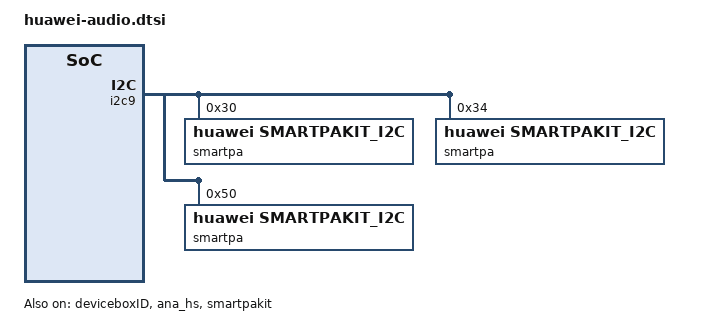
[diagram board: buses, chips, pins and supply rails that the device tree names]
#include "../huawei_audio/yor/huawei_mt6359_accdet.dtsi"

/* Box ID BEGIN */
&pio {
	speaker_box_on: speaker_box_on {
		pins_cmd_dat {
			pinmux = <PINMUX_GPIO190__FUNC_GPIO190>;
			slew-rate = <0>;
			bias-pull-up = <MTK_PUPD_SET_R1R0_01>;
		};
	};
	speaker_box_off: speaker_box_off {
		pins_cmd_dat {
			pinmux = <PINMUX_GPIO190__FUNC_GPIO190>;
			slew-rate = <0>;
			bias-disable;
		};
	};
};

&deviceboxID {
	compatible = "huawei,deviceboxID";
	pinctrl-names = "default", "idle";
	pinctrl-0 = <&speaker_box_on>;
	pinctrl-1 = <&speaker_box_off>;
	check_mode = "gpio";
	box_num = <2>;
	enable_boxID = <1 0 0 0>;
	gpio_num = <1 0 0 0>;
	gpio_speakerID = <&pio 190 0>;
	speaker_map = <6 1>;
	status = "ok";
};
/* Box ID END */

&audio_hw_config {
	product_name = "mt6885";
	mic_silence_continuous_check_times = "5";
	speaker_test_content = "speaker";
	rcv_use_i2s = "false";
	audio_param_path = "odm/etc/audio/audio_param";
	audio_param_ce_path = "odm/etc/audio/audio_param_ce";
	record_algo_version = "record5_0";
	is_huawei_record = "true";
	multi_mic_enable = "true";
	third_platform_name = "mt6885";
	third_audio_hal_name = "audio.primary.mt6885.so";
	audio_channel_rotation_info {
		swap_thread = "25";
		angle = "90";
		rotation_support = "true";
	};
	audio_capability {
		backmic_record_enable = "true";
		asr_vibrate_support = "true";
		/*
		sound trigger feature.
		false: this product doesn't support soundtrigger feature.
		2.0: this product supports the twice wakeup feature.
		*/
		soundtrigger_version = "2.0";
		soundtrigger_enhance_enable = "true";
		soundtrigger_mic_info = "3";
		/*
		bit0: node 900 optimization,  1:enab1e
		bit1:
			0: e2e disable
			1: e2e enable, must use hifi_6405_virtual_btn_devkit.img
		*/
		soundtrigger_kws1_feature = "2";
		/*
		max stream volume to replace Android default volume.
		*/
		/*
		use hisilicon wakeup engine.
		true: use hisilicon wakeup engine.
		false: DO NOT use hisilicon wakeup engine.
		*/
		wakeup_hisiengine = "true";
		asr_enhance_mic_choose = "1";
	};
};

&ana_hs {
	compatible = "huawei,ana_hs";
	status = "ok";
	ana_hs_core@0 {
		compatible = "huawei,ana_hs_core";
		bus_type = <0>; /* 0: gpio,  1: i2c */

		/* if use gpio */
		gpio_num = <1>;
		gpio_type = <0>; /* 0: SOC,  1: codec */
		gpios = <&pio 29 0>;
		gpio_init_val = <0>;  /* 0: output low, 1: output high */

		/* plug_out sequence */
		plug_out_seq = <
			0 0 0 0
		>;
		/* mic_gnd_switch used gpio */
		mic_gnd_sequence = <
			0 0 0 150
		>;
		/* switch ana_hs usb using ldo */
		regulator_used;
		ana_hs_switch-supply = <&mt_pmic_vmc_ldo_reg>;
		ana_hs_switch_vol = <3300000>;
		status = "ok";
	};
};

&sound {
		mtk_spk_i2s_out = <3>;
		mtk_spk_i2s_in = <9>; /* 9 means 32bit, 0 means 24bit */
};

/* feature : $enable $dl_mem $ul_mem $ref_mem $size */
&snd_audio_dsp {
	compatible = "mediatek,snd_audio_dsp";
	mtk_dsp_voip = <0x7 0x1 0xffffffff 0xffffffff 0x30000>;
	mtk_dsp_primary = <0x7 0x0 0xffffffff 0xffffffff 0x30000>;
	mtk_dsp_offload = <0x0 0x6 0xffffffff 0xffffffff 0x400000>;
	mtk_dsp_deep = <0x0 0x3 0xffffffff 0xffffffff 0x30000>;
	mtk_dsp_playback = <0x1 0x4 0x10 0x14 0x30000>;
	mtk_dsp_music = <0x1 0xffffffff 0xffffffff 0xffffffff 0x0>;
	mtk_dsp_capture1 = <0x0 0xffffffff 0xd 0x13 0x20000>;
	mtk_dsp_a2dp = <0x0 0xffffffff 0xffffffff 0xffffffff 0x40000>;
	mtk_dsp_dataprovider = <0x0 0xffffffff 0xf 0xffffffff 0x30000>;
	mtk_dsp_call_final = <0x7 0x0 0x10 0x14 0x18000>;
	mtk_dsp_fast = <0x7 0x2 0xffffffff 0xffffffff 0x5000>;
	mtk_dsp_ktv = <0x1 0x8 0x12 0xffffffff 0x10000>;
	mtk_dsp_ver = <0x1>;
	swdsp_smartpa_process_enable = <0x7>;
	mtk_dsp_mem_afe = <0x1 0x40000>; /* always enable */
};

&i2c9 {
	smartpa@30{
		compatible = "huawei,smartpakit_i2c";
		reg = <0x30>;
		/* 4:huawei customize */
		chip_vendor = <4>;
		/* refer to smartpakit.out_device prop */
		chip_id = <0>;
		chip_model = "06-01";
		/* maybe trigger one irq after some chip reset
		 * debounce wait time unit: msecs */
		reset_debounce_wait_time = <100>;
		status = "ok";

		/* reg_ctl node: a node contains three data<addr value ctl_type>
		 * ctl_type: 0 read reg(default), 1 write reg, 2 only time delay
		 * value:
		 *     read:  reg number(num >= 1)
		 *     write: reg value
		 *     delay: time delay
		 * time delay unit: msecs
		 */
		version_regs = <0x00 1 0>;
		dump_regs = <0 256 0>;

		hw_reset {
			gpio_reset = <&pio 30 0>;
			/* gpio_state node: a node contains two data<state delay>
			 * time delay unit: msecs
			 */
			ctl_sequence = <0 1 1 1>;
		};

		irq_handler {
			gpio_irq = <&pio 31 0>;
			/* 0x0 IRQF_TRIGGER_NONE, 0x1 IRQF_TRIGGER_RISING, 0x2 IRQF_TRIGGER_FALLING, 0x4 IRQF_TRIGGER_HIGH, 0x8 IRQF_TRIGGER_LOW */
			irq_flags = <2>;
			/* whether or not need reset chip */
			need_reset;
			rw_sequence = <
				0x00 8 0
				0x09 5 0
				0x12 3 0
				0x60 2 0
				0x78 1 0
				0x7a 1 0
			>;
		};

		regmap_cfg {
			reg_bits = <8>;
			val_bits = <16>;
			/* 0 REGCACHE_NONE, 1 REGCACHE_RBTREE, 2 REGCACHE_COMPRESSED, 3 REGCACHE_FLAT */
			cache_type = <0>;
			max_register = <0xff>;
		};
	};

	smartpa@34{
		compatible = "huawei,smartpakit_i2c";
		reg = <0x34>;
		/* 4:huawei customize */
		chip_vendor = <4>;
		/* refer to smartpakit.out_device prop */
		chip_id = <0>;
		chip_model = "01-02";
		status = "ok";

		/* reg_ctl node: a node contains three data<addr value ctl_type>
		 * ctl_type: 0 read reg(default), 1 write reg, 2 only time delay
		 * value:
		 *     read:  reg number(num >= 1)
		 *     write: reg value
		 *     delay: time delay
		 * time delay unit: msecs */
		version_regs = <0x03 1 0>;
		dump_regs = <0 256 0>;
		hw_reset {
			gpio_reset = <&pio 30 0>;
			/* gpio_state node: a node contains two data<state delay>
			 * time delay unit: msecs */
			ctl_sequence = <1 1 0 1>;
		};
		irq_handler {
			gpio_irq = <&pio 31 0>;
			/* 0x0 IRQF_TRIGGER_NONE, 0x1 IRQF_TRIGGER_RISING, 0x2 IRQF_TRIGGER_FALLING, 0x4 IRQF_TRIGGER_HIGH, 0x8 IRQF_TRIGGER_LOW */
			irq_flags = <2>;
			/* whether or not need reset chip */
			need_reset;
			rw_sequence = <
				0x10 1 0
				0x11 1 0
				0x13 1 0
				0x14 1 0
				0x40 1 0
				0x41 1 0
				0x42 1 0
			>;
		};
		regmap_cfg {
			reg_bits = <8>;
			val_bits = <16>;
			/* 0 REGCACHE_NONE, 1 REGCACHE_RBTREE, 2 REGCACHE_COMPRESSED, 3 REGCACHE_FLAT */
			cache_type = <0>;
			max_register = <0xff>;
			reg_defaults = <
				0x00 0x1801
				0x01 0x0014
			>;
		};
	};

	smartpa@50{
		compatible = "huawei,smartpakit_i2c";
		reg = <0x50>;
		/* 4:huawei customize */
		chip_vendor = <4>;
		/* refer to smartpakit.out_device prop */
		chip_id = <0>;
		chip_model = "03-01";
		status = "ok";

		/* reg_ctl node: a node contains three data<addr value ctl_type>
		 * ctl_type: 0 read reg(default), 1 write reg, 2 only time delay
		 * value:
		 *     read:  reg number(num >= 1)
		 *     write: reg value
		 *     delay: time delay
		 * time delay unit: msecs */
		version_regs = <0x0 1 0>;
		dump_regs = <
			0x000000 1          0
			0x000008 1          0
			0x002014 0x21       0
			0x002400 1          0
			0x002c04 0xd        0
			0x003800 0x31       0
			0x004004 1          0
			0x004220 1          0
			0x004300 1          0
			0x004800 0x3d       0
			0x004C00 1          0
			0x004C20 0x15       0
			0x006000 1          0
			0x006404 0x11       0
			0x006450 1          0
			0x006800 0x9        0
			0x006C04 1          0
			0xd00000 0x4d       0
			0xe02800 1          0>;

		hw_reset {
			gpio_reset = <&pio 30 0>;
			/* gpio_state node: a node contains two data<state delay>
			 * time delay unit: msecs */
			ctl_sequence = <1 1 0 1>;
		};
		irq_handler {
			gpio_irq = <&pio 31 0>;
			/* 0x0 IRQF_TRIGGER_NONE, 0x1 IRQF_TRIGGER_RISING, 0x2 IRQF_TRIGGER_FALLING, 0x4 IRQF_TRIGGER_HIGH, 0x8 IRQF_TRIGGER_LOW */
			irq_flags = <2>;
			/* whether or not need reset chip */
			need_reset;
			rw_sequence = <
				0xd00020 1          0
				0xd00024 1          0
				0xd00028 1          0
				0xd0002c 1          0
				0xd00000 0xffffffff 1
				0xd00004 0xffffffff 1
				0xd00008 0xffffffff 1
				0xd0000c 0xffffffff 1
			>;
		};
		regmap_cfg {
			reg_bits = <32>;
			val_bits = <32>;
			/* 0 REGCACHE_NONE, 1 REGCACHE_RBTREE, 2 REGCACHE_COMPRESSED, 3 REGCACHE_FLAT */
			cache_type = <0>;
			max_register = <0xe0ffff>;
		};
	};
};

&smartpakit {
	compatible = "huawei,smartpakit";
	/* 0 hisi, 1 qcom, 2 mtk */
	soc_platform = <2>;
	/* algo running on: 0 codec_dsp, 1 soc_dsp, 2 smartpa_dsp, 3 simple pa(not smpartpa), 4 simple pa(with i2c) */
	algo_in = <1>;
	/* algo_in params need match out_device for smartpa.
	 * Now, up to only support four pa, so out_device = <0 0 0 0>;
	 * 1. This array is arranged in the following order:
	 *    <0 1 2 3>
	 *    <pril prir secl secr>
	 * 2. This array element value is 0 or 1:
	 *    smartpa: 0 speaker, 1 receiver
	 *    simple pa: out_device not applicable, only set 0 to indicate pa_num
	 * 3. The length of this array is variable, for example:
	 *    single pa: out_device = <0>;
	 *    two pa: out_device = <0 0>;
	 *    four pa: out_device = <1 1 0 0>; */
	out_device = <0>;
	/* param_version: 1 mixed smartpa param support */
	param_version = <1>;
	misc_rw_permission_enable;
	status = "ok";
};
